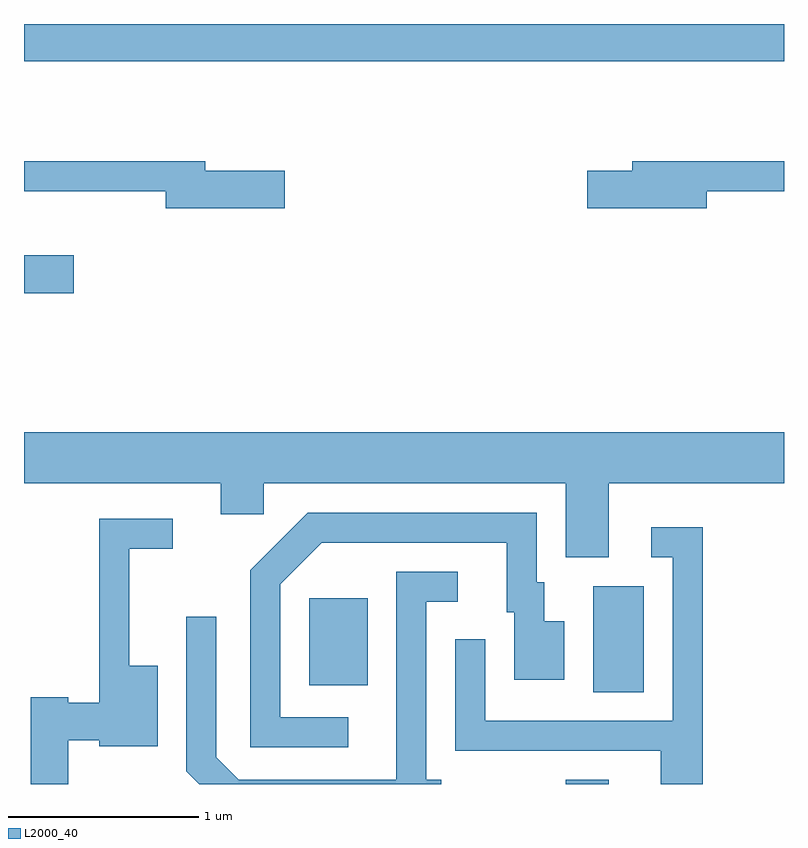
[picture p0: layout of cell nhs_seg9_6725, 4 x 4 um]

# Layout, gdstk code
import gdstk
lib = gdstk.Library(unit=1e-6, precision=1e-09)
def R(c, l, rs):  # rectangles x0, y0, x1, y1
    for r in rs: c.add(gdstk.rectangle(r[:2], r[2:], *l))
def P(c, l, *ps):  # polygons
    for p in ps: c.add(gdstk.Polygon(p, *l))
L2000_40 = (2000, 40)

nhs_seg9_6725 = lib.new_cell('nhs_seg9_6725')
R(nhs_seg9_6725, L2000_40, [(386.461,2012.432,386.689,2012.454), (386.606,2012.916,386.874,2013.474), (385.111,2012.951,385.419,2013.409), (383.611,2015.016,383.874,2015.214), (383.611,2016.236,387.611,2016.432)])
P(nhs_seg9_6725, L2000_40, [(387.204,2015.551),(387.611,2015.551),(387.611,2015.709),(386.811,2015.709),(386.811,2015.659),(386.576,2015.659),(386.576,2015.461),(387.204,2015.461)],
  [(384.984,2015.659),(384.564,2015.659),(384.564,2015.709),(383.611,2015.709),(383.611,2015.551),(384.356,2015.551),(384.356,2015.461),(384.984,2015.461)],
  [(386.689,2014.016),(387.611,2014.016),(387.611,2014.284),(383.611,2014.284),(383.611,2014.016),(384.646,2014.016),(384.646,2013.851),(384.874,2013.851),(384.874,2014.016),(386.461,2014.016),(386.461,2013.626),(386.689,2013.626)],
  [(385.318,2012.784),(384.959,2012.784),(384.959,2013.484),(385.177,2013.701),(386.151,2013.701),(386.151,2013.336),(386.191,2013.336),(386.191,2012.981),(386.454,2012.981),(386.454,2013.289),(386.349,2013.289),(386.349,2013.494),(386.309,2013.494),(386.309,2013.859),(385.104,2013.859),(384.801,2013.557),(384.801,2012.626),(385.318,2012.626)],
  [(383.844,2012.661),(384.006,2012.661),(384.006,2012.631),(384.314,2012.631),(384.314,2013.054),(384.164,2013.054),(384.164,2013.671),(384.393,2013.671),(384.393,2013.829),(384.006,2013.829),(384.006,2012.859),(383.844,2012.859),(383.844,2012.889),(383.646,2012.889),(383.646,2012.432),(383.844,2012.432)],
  [(387.184,2013.784),(386.913,2013.784),(386.913,2013.626),(387.026,2013.626),(387.026,2012.764),(386.039,2012.764),(386.039,2013.193),(385.881,2013.193),(385.881,2012.606),(386.961,2012.606),(386.961,2012.432),(387.184,2012.432)],
  [(385.808,2012.454),(385.729,2012.454),(385.729,2013.391),(385.893,2013.391),(385.893,2013.549),(385.571,2013.549),(385.571,2012.454),(384.742,2012.454),(384.624,2012.572),(384.624,2013.313),(384.466,2013.313),(384.466,2012.499),(384.533,2012.432),(385.808,2012.432)])

lib.write_gds('nhs_seg9_6725.gds')
